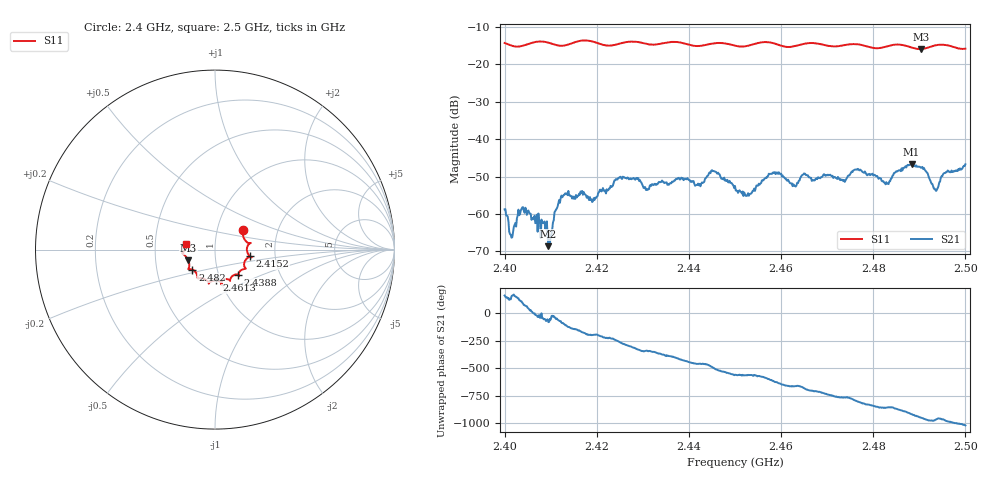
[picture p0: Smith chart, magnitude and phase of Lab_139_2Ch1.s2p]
# Hz S RI R
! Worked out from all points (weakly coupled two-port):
!   601 points, 2.4 GHz to 2.5 GHz, reference 50 ohm
!   highest |S21| = -46.71 dB at 2.4883 GHz (marker M1); lowest = -68.6 dB at 2.4095 GHz (marker M2)
!   lowest |S11| = -15.9 dB at 2.4903 GHz (marker M3), VSWR 1.38, Z = 36.8 - j4.46 ohm
!   |S11| at or under -10 dB: start of sweep to end of sweep
!   S12 and S22 are empty: the file has one direction only
!   S11 on the Smith chart (normalised r, x): 2.4 GHz: 1.33, +0.31; 2.4152 GHz: 1.47, -0.11; 2.4388 GHz: 1.24, -0.36; 2.4613 GHz: 0.96, -0.34; 2.482 GHz: 0.76, -0.17; 2.5 GHz: 0.72, +0.05
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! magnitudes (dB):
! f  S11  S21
! 2.4 GHz  -14.3  -58.8
! 2.4015 GHz  -15.0  -66.3
! 2.4042 GHz  -14.9  -59.1
! 2.4095 GHz  -14.2  -68.6
! 2.4123 GHz  -15.0  -55.1
! 2.4152 GHz  -14.1  -55.4
! 2.4167 GHz  -13.6  -54.4
! 2.4193 GHz  -14.0  -55.8
! 2.4252 GHz  -14.4  -50.0
! 2.4333 GHz  -14.6  -51.7
! 2.4388 GHz  -14.4  -50.9
! 2.4453 GHz  -14.4  -48.5
! 2.45 GHz  -15.0  -52.5
! 2.4613 GHz  -15.3  -51.1
! 2.4667 GHz  -14.3  -51.2
! 2.4767 GHz  -14.6  -47.9
! 2.482 GHz  -15.5  -51.3
! 2.4833 GHz  -15.0  -52.0
! 2.4883 GHz  -15.5  -46.7
! 2.4903 GHz  -15.9  -47.6
! 2.4935 GHz  -14.9  -53.6
! 2.5 GHz  -15.8  -46.7
